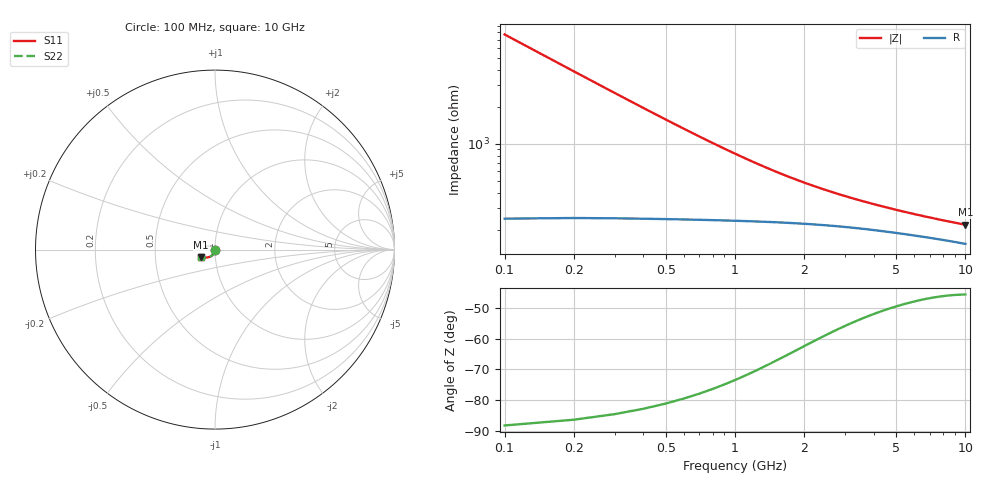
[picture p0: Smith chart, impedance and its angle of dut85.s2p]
! Touchstone file exported from HFSS 2024.1.0
!  File:  C:/UserFiles/LocalFiles/RDL_TSV_Batchsim/temp_TSV1_85_1778751250.aedt
!  Generated:  05:38:53 PM May 14, 2026
!  Design:  TSV1
!  Project:  temp_TSV1_85_1778751250
!  Setup:  Setup1
!  Solution:  Sweep
! Variables:
!  dtsv = 21.2um
!  hbump = 3um
!  htsv = 80.65um
!  lrdl = 252.1521522um
!  p = 40
!  p1 = 57.53um
!  t = 500um
!  trdl = 3um
!  wrdl = 24.89489489um
# GHz S MA R 50.000000
! Terminal data exported
! Port[1] = TSV22_T1
! Port[2] = TSV22_T2
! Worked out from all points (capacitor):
!   100 points, 100 MHz to 10 GHz, reference 50 ohm
!   read as one part in shunt: C = 207 fF near 100 MHz
!   lowest |Z| = 219 ohm at 10 GHz (marker M1)
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0.1  0.002908 -90.7  0.9998 -0.2  0.9998 -0.2  0.002908 -90.7
! Gamma 0 0 0 0
! Port Impedance 50 0 50 0
0.2  0.005806 -93.6  0.9995 -0.4  0.9995 -0.4  0.005806 -93.6
0.3  0.008683 -96.0  0.9989 -0.6  0.9989 -0.6  0.008683 -96.0
0.4  0.01152 -98.1  0.9982 -0.8  0.9982 -0.8  0.01152 -98.1
0.5  0.0143 -100.2  0.9973 -1.0  0.9973 -1.0  0.0143 -100.2
0.6  0.01701 -102.2  0.9962 -1.2  0.9962 -1.2  0.01701 -102.2
0.7  0.01964 -104.1  0.995 -1.3  0.995 -1.3  0.01964 -104.1
0.8  0.02219 -106.0  0.9937 -1.5  0.9937 -1.5  0.02219 -106.0
0.9  0.02465 -107.8  0.9923 -1.7  0.9923 -1.7  0.02465 -107.8
1.1  0.02928 -111.2  0.9893 -2.0  0.9893 -2.0  0.02928 -111.2
1.4  0.0355 -115.8  0.9846 -2.3  0.9846 -2.3  0.0355 -115.8
1.6  0.03918 -118.5  0.9815 -2.5  0.9815 -2.5  0.03918 -118.5
1.8  0.04253 -121.0  0.9784 -2.7  0.9784 -2.7  0.04253 -121.0
2.1  0.04699 -124.3  0.9739 -3.0  0.9739 -3.0  0.04699 -124.3
2.5  0.05207 -128.0  0.9685 -3.3  0.9685 -3.3  0.05207 -128.0
2.9  0.05637 -131.1  0.9637 -3.5  0.9637 -3.5  0.05637 -131.1
3.4  0.06093 -134.2  0.9583 -3.7  0.9583 -3.7  0.06093 -134.2
4.2  0.06686 -138.2  0.9512 -4.1  0.9512 -4.1  0.06686 -138.2
5.1  0.07218 -141.5  0.9446 -4.4  0.9446 -4.4  0.07218 -141.5
6.7  0.07929 -145.9  0.9357 -5.0  0.9357 -5.0  0.07929 -145.9
8.4  0.08471 -149.1  0.9289 -5.5  0.9289 -5.5  0.08471 -149.1
10  0.08854 -151.3  0.9241 -6.0  0.9241 -6.0  0.08854 -151.3
